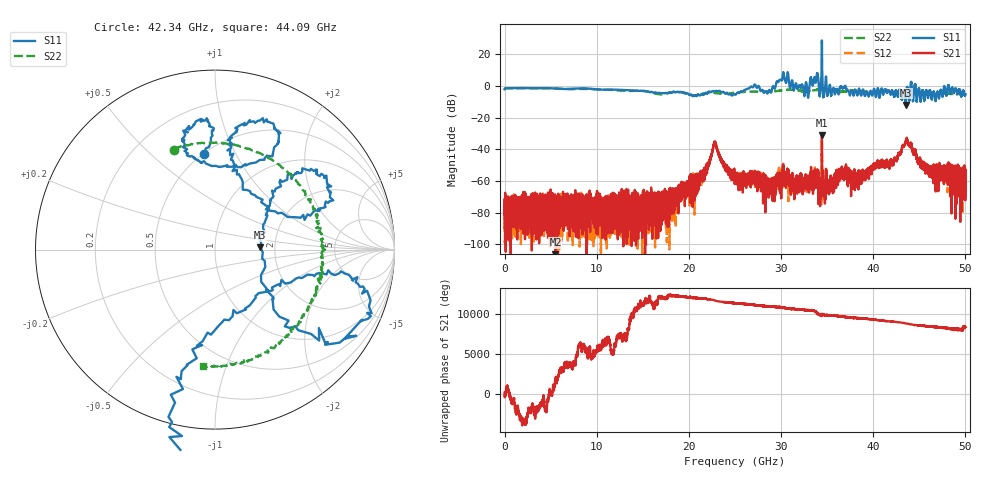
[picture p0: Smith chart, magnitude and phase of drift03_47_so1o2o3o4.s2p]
!Created with skrf (http://scikit-rf.org).
# Hz S RI R 50.0
!freq ReS11 ImS11 ReS21 ImS21 ReS12 ImS12 ReS22 ImS22
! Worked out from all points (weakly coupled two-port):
!   10000 points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, 5.3 MHz to 50 GHz, reference 50 ohm
!   highest |S21| = -31.20 dB at 34.43 GHz (marker M1); lowest = -114.7 dB at 5.52 GHz (marker M2)
!   lowest |S11| = -11.9 dB at 43.52 GHz (marker M3), VSWR 1.68, Z = 83.7 + j2.43 ohm
!   |S11| at or under -10 dB: 43.48453 GHz to 43.55532 GHz (70.79 MHz wide, 0.163 % of centre); 45.13961 GHz to 45.14062 GHz (1.012 MHz wide, 0.00224 % of centre)
!   |S22| runs from -5.9 to -1.3 dB; largest |S21 - S12| = 0.0069
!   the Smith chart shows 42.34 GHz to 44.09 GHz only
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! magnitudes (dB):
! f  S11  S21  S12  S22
! 5.3 MHz  -2.1  -79.4  -75.8  -2.1
! 5.52 GHz  -1.6  -114.7  -74.0  -1.7
! 8.34 GHz  -1.5  -71.5  -74.7  -1.9
! 16.67 GHz  -4.4  -81.5  -73.4  -5.2
! 20.97 GHz  -5.7  -59.1  -62.6  -5.6
! 21.86 GHz  -4.5  -50.3  -53.5  -4.4
! 22.81 GHz  -3.4  -35.5  -35.4  -4.4
! 25.01 GHz  -5.5  -56.9  -58.3  -4.2
! 27.02 GHz  -0.3  -56.1  -56.2  -3.5
! 28.72 GHz  -2.5  -62.4  -65.1  -3.5
! 30.14 GHz  4.4  -55.3  -58.2  -2.8
! 32.74 GHz  2.0  -62.4  -56.3  -3.3
! 33.34 GHz  2.7  -55.0  -54.8  -2.9
! 34.43 GHz  28.8  -31.2  -33.4  -2.3
! 35.43 GHz  -6.3  -61.4  -64.4  -2.8
! 36.82 GHz  -0.7  -53.8  -55.9  -3.4
! 38.49 GHz  -1.9  -59.1  -57.6  -3.0
! 41.67 GHz  -3.0  -51.7  -50.3  -3.7
! 43.52 GHz  -11.9  -35.5  -35.5  -4.3
! 46.28 GHz  -5.7  -53.2  -55.6  -5.6
! 49.62 GHz  -5.2  -52.8  -55.3  -5.0
! 50 GHz  -5.2  -53.6  -60.4  -4.9
